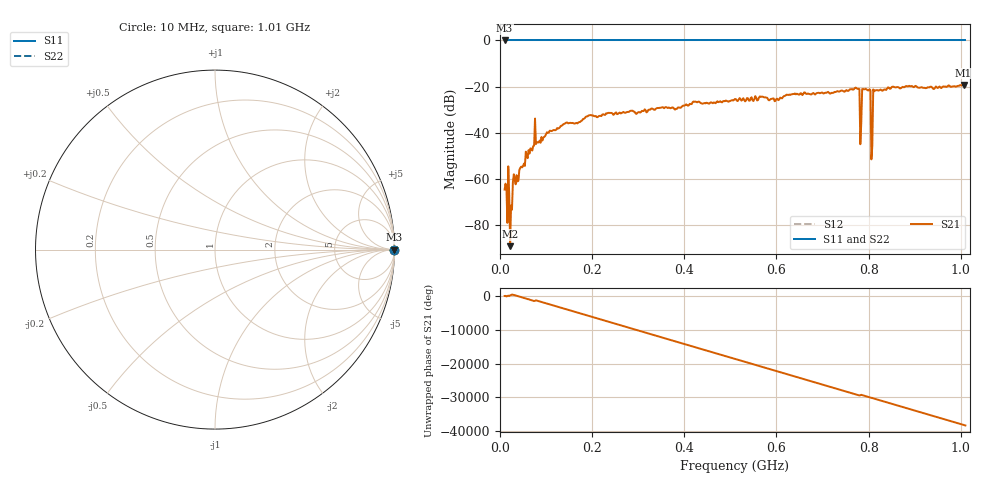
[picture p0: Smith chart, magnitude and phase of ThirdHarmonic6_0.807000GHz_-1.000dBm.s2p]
! 8/16/2025 2:53:28 AM
! C:\ANRITSUVNA\TEMP\TEMP.S2P
! CHANNEL.1
! TR.MEASUREMENT
! RAW.DATA
! RF.CORRECTION.OFF
! AVERAGING.OFF
! IF.BANDWIDTH: 5KHZ
! SWEEPTYPE:  FREQ.SWEEP(Linear)
! Reference Plane Port Info
! PORT:  PORT1  PORT2
! DISTANCE:  0  m  0  m
! TIME:  0  s  0  s
! PHASE.OFFSET:  0  deg.  0  deg.
! LOSS:  0  dB  0  dB
! REF.LOSS:  0  dB  0  dB
! REF.FREQ:  0  Hz  0  Hz
! Power Info
! POWER:  -20  dBm  -20  dBm
! EFF.POWER:  -20  dBm  -20  dBm
! SOURCE.ATTEN:  0  dB  0  dB
! TEST.ATTEN:  0  dB  0  dB
# GHZ S RI R 50.0
! FREQ.GHZ  S11RE  S11IM  S21RE  S21IM  S12RE  S12IM  S22RE  S22IM
!; PortSelection: Port_12
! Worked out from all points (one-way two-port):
!   501 points, 10 MHz to 1.01 GHz, reference 50 ohm
!   highest |S21| = -19.31 dB at 1.006 GHz (marker M1); lowest = -89.3 dB at 22 MHz (marker M2)
!   lowest |S11| = 0.0 dB at 10 MHz (marker M3)
!   |S11| at or under -10 dB: nowhere
!   |S22| runs from 0.0 to 0.0 dB; largest |S21 - S12| = 1.1
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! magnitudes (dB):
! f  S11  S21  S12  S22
! 10 MHz  0.0  -64.8  0.0  0.0
! 12 MHz  0.0  -62.2  0.0  0.0
! 22 MHz  0.0  -89.3  0.0  0.0
! 26 MHz  0.0  -73.5  0.0  0.0
! 32 MHz  0.0  -60.5  0.0  0.0
! 36 MHz  0.0  -58.5  0.0  0.0
! 76 MHz  0.0  -33.9  0.0  0.0
! 178 MHz  0.0  -34.8  0.0  0.0
! 344 MHz  0.0  -29.3  0.0  0.0
! 510 MHz  0.0  -25.4  0.0  0.0
! 678 MHz  0.0  -23.0  0.0  0.0
! 776 MHz  0.0  -21.0  0.0  0.0
! 780 MHz  0.0  -21.1  0.0  0.0
! 786 MHz  0.0  -21.1  0.0  0.0
! 790 MHz  0.0  -21.2  0.0  0.0
! 800 MHz  0.0  -21.7  0.0  0.0
! 804 MHz  0.0  -21.6  0.0  0.0
! 810 MHz  0.0  -21.3  0.0  0.0
! 814 MHz  0.0  -21.7  0.0  0.0
! 844 MHz  0.0  -20.5  0.0  0.0
! 1.006 GHz  0.0  -19.3  0.0  0.0
! 1.01 GHz  0.0  -19.8  0.0  0.0
